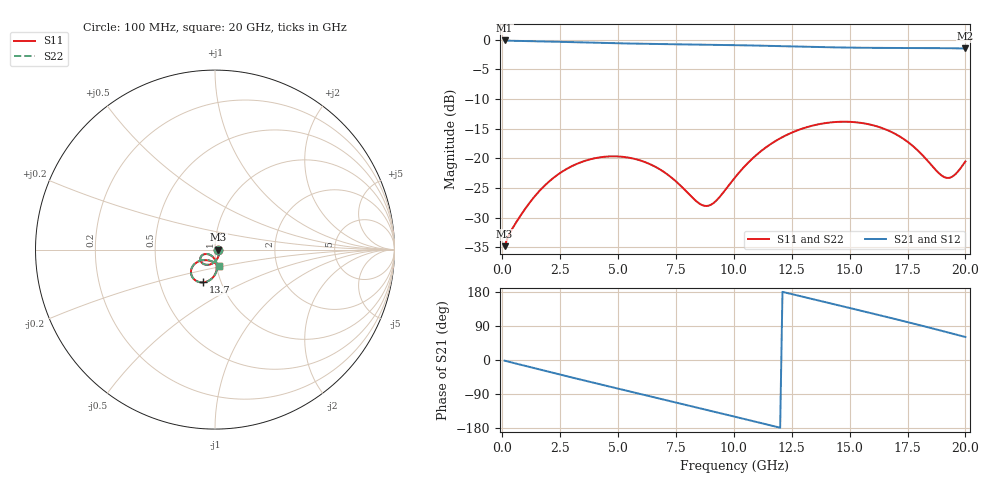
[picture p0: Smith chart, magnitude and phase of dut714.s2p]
! Touchstone file exported from HFSS 2026.1.0
!  File:  C:/ffzhzh/LocalFiles/Ansys_Project_Files/temp_train_TSV_RDL_714_1783200860_18472.aedt
!  Generated:  05:41:37 AM Jul  5, 2026
!  Design:  TSV_RDL
!  Project:  temp_train_TSV_RDL_714_1783200860_18472
! Variables:
!  h_bsmrdl = 2.97um
!  h_ox = 20um
!  h_rdl = 5um
!  h_sub = 63.02um
!  h_tmrdl = 5.97um
!  h_tsv = 63.02um
!  h_via = 3um
!  l_bsmrdl = 407.03um
!  l_sub = 4580.3um
!  l_tmrdl = 707.14um
!  m_sub = 200um
!  pitch = 31.25um
!  r_tsv = 10.42um
!  s_tmrdl = 10um
!  w_bsmrdl = 14.37um
!  w_sub = 500um
!  w_tmrdl = 29.18um
!  x_tsv_center1 = 721.73um
!  x_tsv_center2 = 1143.13um
!  x_tsv_center3 = 1879.45um
!  x_tsv_center4 = 2300.85um
!  x_tsv_center5 = 3037.17um
!  x_tsv_center6 = 3458.57um
# GHz S MA R 50.000000
! Terminal data exported
! Port[1] = TM_RDL1_1_T1
! Port[2] = TM_RDL5_1_T1
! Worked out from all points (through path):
!   200 points, 100 MHz to 20 GHz, reference 50 ohm
!   highest |S21| = -0.16 dB at 100 MHz (marker M1); lowest = -1.5 dB at 20 GHz (marker M2)
!   group delay of S21, straight-line fit = 41.1 ps
!   lowest |S11| = -34.8 dB at 100 MHz (marker M3), VSWR 1.04, Z = 51.9 + j0.00666 ohm
!   |S11| at or under -10 dB: start of sweep to end of sweep
!   |S22| runs from -34.8 to -13.8 dB; largest |S21 - S12| = 1.7e-14
!   S11 on the Smith chart (normalised r, x): 100 MHz: 1.04, +0.00; 13.7 GHz: 0.82, -0.31; 20 GHz: 1.03, -0.19
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0.1  0.0182 0.2  0.9818 -1.8  0.9818 -1.8  0.0182 0.2
! Gamma 0 0 0 0
! Port Impedance 50 0 50 0
0.6  0.02891 -35.7  0.9736 -9.6  0.9736 -9.6  0.0289 -35.7
1.6  0.05297 -76.7  0.9652 -24.9  0.9652 -24.9  0.05292 -76.8
2.5  0.07525 -97.5  0.9558 -38.5  0.9558 -38.5  0.07516 -97.6
3.5  0.09416 -115.5  0.9446 -53.5  0.9446 -53.5  0.09402 -115.7
5.2  0.1029 -140.2  0.9276 -78.5  0.9276 -78.5  0.1026 -140.4
6.8  0.08079 -155.5  0.9159 -101.8  0.9159 -101.8  0.08032 -156.0
7.8  0.05624 -154.0  0.9102 -116.5  0.9102 -116.5  0.05554 -154.6
8.4  0.04316 -140.5  0.9069 -125.3  0.9069 -125.3  0.04226 -140.8
8.8  0.03965 -123.3  0.9047 -131.2  0.9047 -131.2  0.0387 -123.1
9.2  0.04324 -104.8  0.9023 -137.1  0.9023 -137.1  0.04241 -104.2
10.1  0.07088 -84.8  0.8963 -150.5  0.8963 -150.5  0.07046 -84.1
10.9  0.1035 -84.3  0.8899 -162.4  0.8899 -162.4  0.1033 -83.8
11.7  0.1359 -89.5  0.8827 -174.2  0.8827 -174.2  0.1358 -89.2
13.4  0.1884 -106.6  0.8664 160.7  0.8664 160.7  0.1883 -106.4
13.7  0.1941 -109.9  0.8638 156.3  0.8638 156.3  0.194 -109.8
15.3  0.2007 -127.4  0.853 132.9  0.853 132.9  0.2006 -127.4
16.7  0.1702 -140.5  0.8491 112.1  0.8491 112.1  0.17 -140.7
17.9  0.1186 -144.7  0.8483 93.9  0.8483 93.9  0.118 -145.1
19.1  0.06922 -116.1  0.8459 75.1  0.8459 75.1  0.06783 -116.3
19.5  0.07148 -94.7  0.8439 68.7  0.8439 68.7  0.07004 -94.3
20  0.09403 -75.7  0.8401 60.6  0.8401 60.6  0.09288 -74.9
